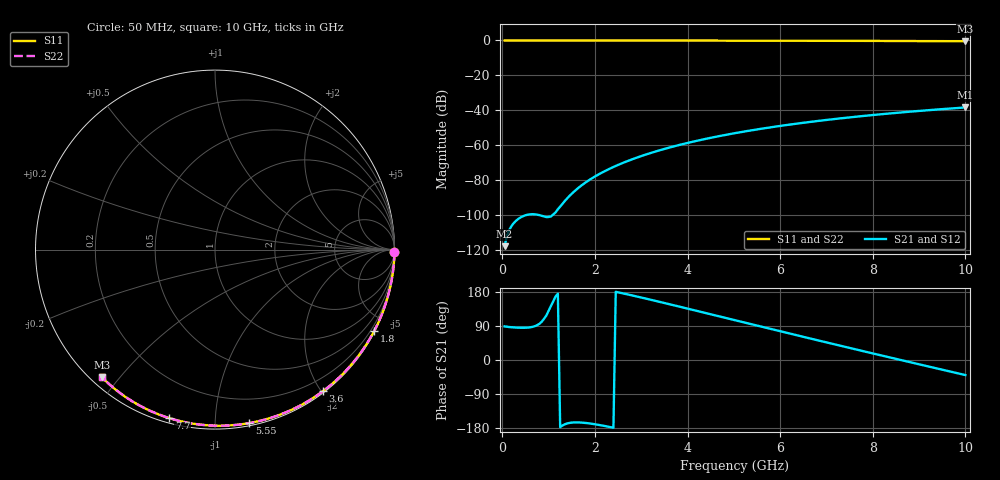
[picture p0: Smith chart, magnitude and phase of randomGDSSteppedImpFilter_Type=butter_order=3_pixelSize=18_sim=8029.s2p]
! freq	dB(S11)	phase(S11)	dB(S12)	phase(S12)
!  dB(S21)	phase(S21)	dB(S22)	phase(S22)
!S-par simulation data
#  GHz  S  DB  R 50
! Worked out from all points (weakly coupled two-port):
!   200 points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, 50 MHz to 10 GHz, reference 50 ohm
!   highest |S21| = -38.44 dB at 10 GHz (marker M1); lowest = -118.0 dB at 50 MHz (marker M2)
!   lowest |S11| = -0.4 dB at 10 GHz (marker M3), VSWR 39.03, Z = 1.54 - j22.4 ohm
!   |S11| at or under -10 dB: nowhere
!   |S22| runs from -0.4 to 0.0 dB; largest |S21 - S12| = 0
!   S11 on the Smith chart (normalised r, x): 50 MHz: open; 1.8 GHz: 0.04, -4.17; 3.6 GHz: 0.02, -2.02; 5.55 GHz: 0.02, -1.22; 7.7 GHz: 0.02, -0.76; 10 GHz: 0.03, -0.45
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0.05  -0.00 -0.8  -118.04 88.7  -118.04 88.7  -0.00 -0.8
0.9  -0.02 -13.6  -101.04 108.5  -101.04 108.5  -0.02 -13.6
1.75  -0.03 -26.2  -82.40 -165.5  -82.40 -165.5  -0.03 -26.2
1.8  -0.03 -27.0  -81.46 -166.1  -81.46 -166.1  -0.03 -27.0
1.85  -0.04 -27.7  -80.56 -166.9  -80.56 -166.9  -0.04 -27.7
1.9  -0.04 -28.4  -79.70 -167.7  -79.70 -167.7  -0.04 -28.4
2.05  -0.04 -30.6  -77.30 -170.5  -77.30 -170.5  -0.04 -30.6
2.25  -0.04 -33.5  -74.48 -175.1  -74.48 -175.1  -0.04 -33.5
2.45  -0.05 -36.4  -71.99 180.0  -71.99 180.0  -0.05 -36.4
2.65  -0.05 -39.3  -69.76 174.6  -69.76 174.6  -0.05 -39.3
3  -0.06 -44.3  -66.35 164.9  -66.35 164.9  -0.06 -44.3
3.4  -0.07 -50.0  -63.00 153.4  -63.00 153.4  -0.07 -50.0
3.6  -0.07 -52.7  -61.51 147.5  -61.51 147.5  -0.07 -52.7
4.3  -0.09 -62.3  -56.99 126.7  -56.99 126.7  -0.09 -62.3
5.05  -0.11 -72.3  -53.07 104.3  -53.07 104.3  -0.11 -72.3
5.55  -0.13 -78.8  -50.84 89.3  -50.84 89.3  -0.13 -78.8
6.1  -0.15 -85.7  -48.66 73.0  -48.66 73.0  -0.15 -85.8
6.7  -0.18 -93.2  -46.57 55.2  -46.57 55.2  -0.18 -93.2
7.7  -0.24 -105.2  -43.58 26.0  -43.58 26.0  -0.24 -105.2
8.35  -0.29 -112.8  -41.92 7.2  -41.92 7.2  -0.29 -112.8
9.15  -0.36 -122.0  -40.11 -15.6  -40.11 -15.6  -0.36 -122.0
10  -0.45 -131.6  -38.44 -39.8  -38.44 -39.8  -0.45 -131.7
